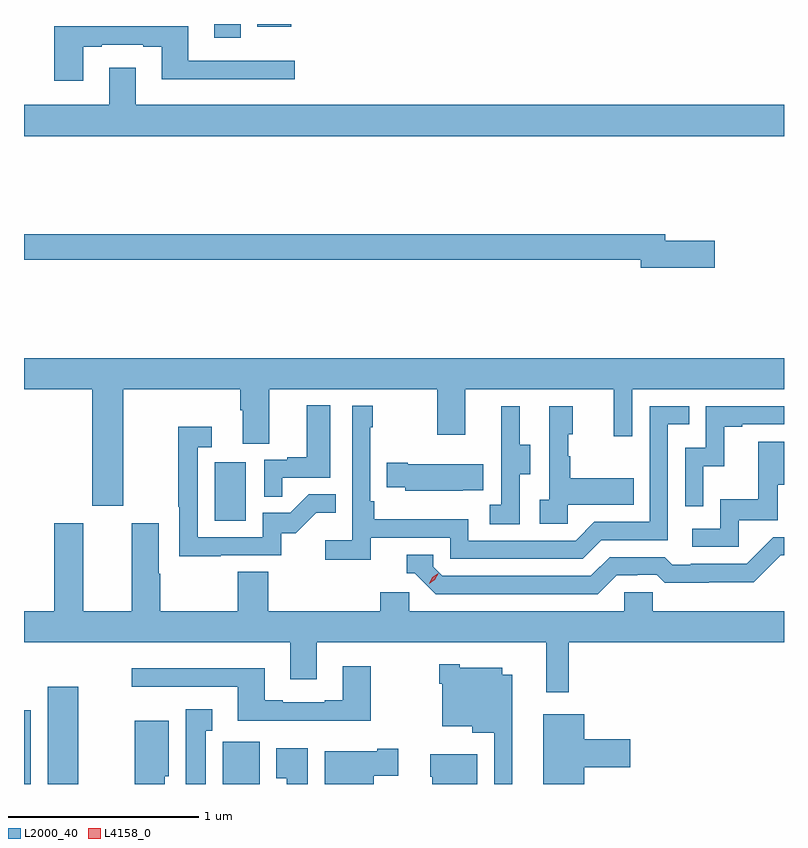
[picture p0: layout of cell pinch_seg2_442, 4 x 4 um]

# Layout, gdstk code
import gdstk
lib = gdstk.Library(unit=1e-6, precision=1e-09)
def R(c, l, rs):  # rectangles x0, y0, x1, y1
    for r in rs: c.add(gdstk.rectangle(r[:2], r[2:], *l))
def P(c, l, *ps):  # polygons
    for p in ps: c.add(gdstk.Polygon(p, *l))
L2000_40 = (2000, 40)
L4158_0 = (4158, 0)

pinch_seg2_442 = lib.new_cell('pinch_seg2_442')
R(pinch_seg2_442, L2000_40, [(911.791,609.594,911.826,609.982), (911.915,609.594,912.076,610.105), (912.837,609.594,913.033,609.816), (912.794,610.98,912.958,611.287), (912.791,613.521,912.931,613.594), (913.019,613.58,913.198,613.594)])
P(pinch_seg2_442, L2000_40, [(912.103,613.473),(912.199,613.473),(912.199,613.485),(912.419,613.485),(912.419,613.473),(912.515,613.473),(912.515,613.304),(913.216,613.304),(913.216,613.401),(912.655,613.401),(912.655,613.582),(911.951,613.582),(911.951,613.296),(912.103,613.296)],
  [(915.791,613.168),(912.379,613.168),(912.379,613.363),(912.239,613.363),(912.239,613.168),(911.791,613.168),(911.791,613.004),(915.791,613.004)],
  [(915.427,612.452),(915.166,612.452),(915.166,612.488),(911.791,612.488),(911.791,612.352),(915.038,612.352),(915.038,612.31),(915.427,612.31)],
  [(912.313,611.672),(912.929,611.672),(912.929,611.56),(912.941,611.56),(912.941,611.386),(913.081,611.386),(913.081,611.672),(913.966,611.672),(913.966,611.433),(914.113,611.433),(914.113,611.672),(914.894,611.672),(914.894,611.424),(914.991,611.424),(914.991,611.672),(915.791,611.672),(915.791,611.836),(911.791,611.836),(911.791,611.672),(912.149,611.672),(912.149,611.058),(912.313,611.058)],
  [(913.151,611.205),(913.402,611.205),(913.402,611.587),(913.28,611.587),(913.28,611.314),(913.177,611.314),(913.177,611.301),(913.056,611.301),(913.056,611.107),(913.151,611.107)],
  [(913.616,610.89),(914.034,610.89),(914.034,610.779),(914.731,610.779),(914.83,610.878),(915.18,610.878),(915.18,611.487),(915.293,611.487),(915.293,611.583),(915.084,611.583),(915.084,610.974),(914.793,610.974),(914.694,610.875),(914.13,610.875),(914.13,610.987),(913.634,610.987),(913.634,611.083),(913.614,611.083),(913.614,611.471),(913.627,611.471),(913.627,611.584),(913.518,611.584),(913.518,610.876),(913.377,610.876),(913.377,610.774),(913.616,610.774)],
  [(915.366,611.267),(915.476,611.267),(915.476,611.475),(915.571,611.475),(915.571,611.487),(915.791,611.487),(915.791,611.583),(915.378,611.583),(915.378,611.364),(915.27,611.364),(915.27,611.055),(915.366,611.055)],
  [(914.652,611.063),(914.999,611.063),(914.999,611.203),(914.665,611.203),(914.665,611.318),(914.655,611.318),(914.655,611.436),(914.68,611.436),(914.68,611.581),(914.556,611.581),(914.556,611.09),(914.505,611.09),(914.505,610.965),(914.652,610.965)],
  [(914.4,611.224),(914.455,611.224),(914.455,611.379),(914.401,611.379),(914.401,611.581),(914.303,611.581),(914.303,611.367),(914.304,611.367),(914.304,611.063),(914.241,611.063),(914.241,610.96),(914.4,610.96)],
  [(912.827,610.797),(913.146,610.797),(913.146,610.914),(913.222,610.914),(913.329,611.021),(913.433,611.021),(913.433,611.12),(913.29,611.12),(913.192,611.022),(913.047,611.022),(913.047,610.893),(912.705,610.893),(912.705,611.367),(912.778,611.367),(912.778,611.473),(912.604,611.473),(912.604,611.053),(912.609,611.053),(912.609,610.792),(912.827,610.792)],
  [(915.552,610.983),(915.757,610.983),(915.757,611.169),(915.791,611.169),(915.791,611.395),(915.655,611.395),(915.655,611.092),(915.456,611.092),(915.456,610.938),(915.309,610.938),(915.309,610.842),(915.552,610.842)],
  [(914.099,611.141),(914.207,611.141),(914.207,611.278),(913.81,611.278),(913.81,611.286),(913.699,611.286),(913.699,611.156),(913.797,611.156),(913.797,611.138),(914.099,611.138)],
  [(914.657,610.34),(915.791,610.34),(915.791,610.504),(915.099,610.504),(915.099,610.602),(914.949,610.602),(914.949,610.504),(913.818,610.504),(913.818,610.602),(913.667,610.602),(913.667,610.504),(913.076,610.504),(913.076,610.712),(912.916,610.712),(912.916,610.504),(912.507,610.504),(912.507,610.7),(912.499,610.7),(912.499,610.966),(912.359,610.966),(912.359,610.504),(912.103,610.504),(912.103,610.966),(911.951,610.966),(911.951,610.504),(911.791,610.504),(911.791,610.34),(913.193,610.34),(913.193,610.146),(913.333,610.146),(913.333,610.34),(914.539,610.34),(914.539,610.077),(914.657,610.077)],
  [(914.911,610.692),(915.018,610.692),(915.018,610.695),(915.121,610.695),(915.163,610.653),(915.396,610.653),(915.396,610.655),(915.632,610.655),(915.774,610.797),(915.791,610.797),(915.791,610.893),(915.735,610.893),(915.594,610.752),(915.301,610.752),(915.301,610.749),(915.202,610.749),(915.163,610.788),(914.874,610.788),(914.775,610.689),(913.992,610.689),(913.944,610.737),(913.944,610.8),(913.805,610.8),(913.805,610.704),(913.848,610.704),(913.959,610.593),(914.812,610.593)],
  [(914.362,610.168),(914.308,610.168),(914.308,610.207),(914.085,610.207),(914.085,610.225),(913.977,610.225),(913.977,610.121),(913.991,610.121),(913.991,609.899),(914.15,609.899),(914.15,609.863),(914.265,609.863),(914.265,609.594),(914.362,609.594)],
  [(913.617,610.213),(913.469,610.213),(913.469,610.036),(913.373,610.036),(913.373,610.023),(913.153,610.023),(913.153,610.036),(913.057,610.036),(913.057,610.204),(912.357,610.204),(912.357,610.107),(912.917,610.107),(912.917,609.926),(913.617,609.926)],
  [(912.748,609.875),(912.781,609.875),(912.781,609.988),(912.641,609.988),(912.641,609.594),(912.748,609.594)],
  [(914.74,609.683),(914.983,609.683),(914.983,609.83),(914.74,609.83),(914.74,609.961),(914.525,609.961),(914.525,609.594),(914.74,609.594)],
  [(912.532,609.636),(912.553,609.636),(912.553,609.928),(912.374,609.928),(912.374,609.594),(912.532,609.594)],
  [(913.285,609.781),(913.118,609.781),(913.118,609.625),(913.175,609.625),(913.175,609.594),(913.285,609.594)],
  [(913.632,609.637),(913.762,609.637),(913.762,609.779),(913.649,609.779),(913.649,609.766),(913.373,609.766),(913.373,609.594),(913.632,609.594)],
  [(914.176,609.751),(913.928,609.751),(913.928,609.633),(913.94,609.633),(913.94,609.594),(914.176,609.594)])
P(pinch_seg2_442, L4158_0, [(913.924,610.648),(913.924,610.648),(913.94,610.681),(913.97,610.702),(913.97,610.702),(913.97,610.701),(913.954,610.668),(913.924,610.648)])

lib.write_gds('pinch_seg2_442.gds')
